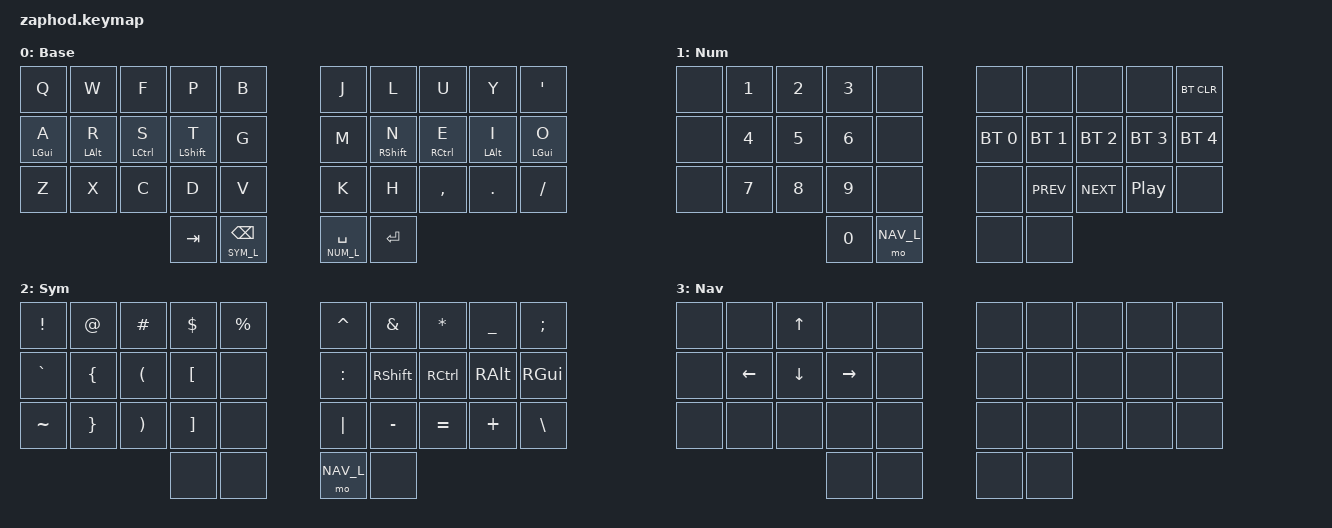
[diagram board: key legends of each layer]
/*
 * Copyright (c) 2021 Pete Johanson
 *
 * SPDX-License-Identifier: MIT
 */

#include <behaviors.dtsi>
#include <dt-bindings/zmk/keys.h>
#include <dt-bindings/zmk/bt.h>
#include <dt-bindings/zmk/outputs.h>

#define NUM_L 1
#define SYM_L 2
#define NAV_L 3

&lt { quick_tap_ms = <200>; };

/ {
    combos {
        compatible = "zmk,combos";

        combo_esc {
            timeout-ms = <50>;
            key-positions = <1 2>;
            bindings = <&kp ESC>;
         };
    };

    behaviors {
        hm: homerow_mods {
            compatible = "zmk,behavior-hold-tap";
            label = "homerow mods";
            #binding-cells = <2>;
            tapping_term_ms = <250>;
            flavor = "tap-preferred";
            bindings = <&kp>, <&kp>;
        };
    };

    keymap {
        compatible = "zmk,keymap";

        default_layer {
            label = "Base";
            bindings = <
                &kp Q      &kp W      &kp F       &kp P          &kp B          &kp J            &kp L          &kp U        &kp Y       &kp APOS
                &hm LGUI A &hm LALT R &hm LCTRL S &hm LSHFT T    &kp G          &kp M            &hm RSHFT N    &hm RCTRL E  &hm LALT I  &hm LGUI O
                &kp Z      &kp X      &kp C       &kp D          &kp V          &kp K            &kp H          &kp COMMA    &kp DOT     &kp FSLH
                                                  &kp TAB        &lt SYM_L BKSP &lt NUM_L SPACE  &kp RET
            >;
        };

        num_layer {
            label = "Num";
            bindings = <
                &none      &kp N1     &kp N2      &kp N3          &none        &none            &none          &none        &none        &bt BT_CLR
                &none      &kp N4     &kp N5      &kp N6          &none        &bt BT_SEL 0     &bt BT_SEL 1   &bt BT_SEL 2 &bt BT_SEL 3 &bt BT_SEL 4
                &none      &kp N7     &kp N8      &kp N9          &none        &none            &kp C_PREV     &kp C_NEXT   &kp C_PP     &none
                                                  &kp N0          &mo NAV_L    &none            &none
            >;
        };

        sym_layer {
            label = "Sym";
            bindings = <
                &kp EXCL   &kp AT     &kp HASH    &kp DLLR        &kp PRCNT    &kp CARET        &kp AMPS       &kp ASTRK    &kp UNDER    &kp SEMI
                &kp GRAVE  &kp LBRC    &kp LPAR   &kp LBKT        &none        &kp COLON        &kp RSHFT      &kp RCTRL    &kp RALT     &kp RGUI
                &kp TILDE  &kp RBRC    &kp RPAR   &kp RBKT        &none        &kp PIPE         &kp MINUS      &kp EQUAL    &kp PLUS     &kp BSLH
                                                  &none           &none        &mo NAV_L        &none
            >;
        };

        nav_layer {
            label = "Nav";
            bindings = <
                &none      &none      &kp UP      &none           &none         &none           &none          &none       &none      &none
                &none      &kp LEFT   &kp DOWN    &kp RIGHT       &none         &none           &none          &none       &none      &none
                &none      &none      &none       &none           &none         &none           &none          &none       &none      &none
                                                  &none           &none         &none           &none
            >;
        };
    };
};

